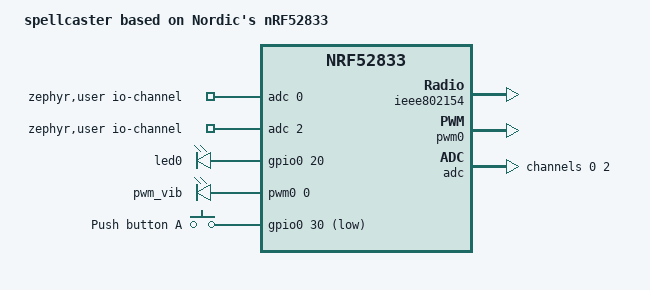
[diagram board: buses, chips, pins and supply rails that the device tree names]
/dts-v1/;
#include <nordic/nrf52833_qiaa.dtsi>
#include "spellcaster_nrf52833-pinctrl.dtsi"

/ {
	model = "spellcaster based on Nordic's nRF52833";
	compatible = "rbaron,spellcaster_nrf52833";

	chosen {
		zephyr,sram = &sram0;
		zephyr,flash = &flash0;
		zephyr,code-partition = &slot0_partition;
		zephyr,ieee802154 = &ieee802154;
	};

	zephyr,user {
		io-channels = <&adc 0>, <&adc 2>;
	};

	leds {
		compatible = "gpio-leds";
		led0: led_0 {
			// P0.20.
			gpios = <&gpio0 20 GPIO_ACTIVE_HIGH>;
		};
	};

	pwms {
		compatible = "pwm-leds";
		pwm_vib: pwm_vib {
			pwms = <&pwm0 0 PWM_MSEC(20) PWM_POLARITY_NORMAL>;
		};
	};

	buttons {
		compatible = "gpio-keys";
		button_a: button_a {
			// P0.30.
			gpios = <&gpio0 30 (GPIO_PULL_UP | GPIO_ACTIVE_LOW)>;
			label = "Push button A";
		};
	};
};

&gpiote {
	status = "okay";
};

&gpio0 {
	status = "okay";
	// For low-power EDGE interrupts.
	// See github.com/zephyrproject-rtos/zephyr/issues/28499.
	sense-edge-mask = <0xffffffff>;
};

&gpio1 {
	status = "okay";
};

&ieee802154 {
	status = "okay";
};

&uart0 {
	compatible = "nordic,nrf-uart";
	status = "disabled";
	current-speed = <115200>;
	pinctrl-0 = <&uart0_default>;
	pinctrl-1 = <&uart0_sleep>;
	pinctrl-names = "default", "sleep";
};

&pwm0 {
	status = "okay";
	pinctrl-0 = <&pwm0_default>;
	pinctrl-1 = <&pwm0_sleep>;
	pinctrl-names = "default", "sleep";
	// status = "disabled";
};

&adc {
	#address-cells = <1>;
	#size-cells = <0>;
	status = "ok";

	// Soil.
	channel@0 {
		reg = <0>;
		zephyr,gain = "ADC_GAIN_1_6";
		zephyr,reference = "ADC_REF_VDD_1_4";
		zephyr,acquisition-time = <ADC_ACQ_TIME_DEFAULT>;
		// P0.03.
		zephyr,input-positive = <NRF_SAADC_AIN1>;
		zephyr,resolution = <10>;

	};

	// Battery.
	channel@2 {
		reg = <2>;
		zephyr,gain = "ADC_GAIN_1_6";
		zephyr,reference = "ADC_REF_INTERNAL";
		zephyr,acquisition-time = <ADC_ACQ_TIME_DEFAULT>;
		zephyr,input-positive = <NRF_SAADC_VDD>;
		zephyr,resolution = <10>;
	};
};

/*
 * For more information, see:
 * http: //docs.zephyrproject.org/latest/guides/dts/index.html#flash-partitions
 */
/* Default
&flash0 {
	partitions {
		compatible = "fixed-partitions";
		#address-cells = <1>;
		#size-cells = <1>;

		boot_partition: partition@0 {
			label = "mcuboot";
			reg = <0x000000000 0xC000>;
		};
		slot0_partition: partition@c000 {
			label = "image-0";
			reg = <0x0000C000 0x32000>;
		};
		slot1_partition: partition@3e000 {
			label = "image-1";
			reg = <0x0003E000 0x32000>;
		};
		scratch_partition: partition@70000 {
			label = "image-scratch";
			reg = <0x00070000 0xA000>;
		};
		storage_partition: partition@7a000 {
			label = "storage";
			// 24k bytes only?
			reg = <0x0007A000 0x00006000>;
		};
	};
};
 */

&flash0 {
	/*
	 * For more information, see:
	 * http: //docs.zephyrproject.org/latest/guides/dts/index.html#flash-partitions
	 */
	partitions {
		compatible = "fixed-partitions";
		#address-cells = <1>;
		#size-cells = <1>;

		boot_partition: partition@0 {
			label = "mcuboot";
			reg = <0x000000000 0xC000>;
		};
		slot0_partition: partition@c000 {
			label = "image-0";
			reg = <0x0000C000 0x32000>;
		};
		// We don't need no stinkin' slot 1.
		// slot1_partition: partition@3e000 {
			//   label = "image-1";
			//   reg = <0x0003E000 0x32000>;
		// };
		// scratch_partition: partition@70000 {
			//   label = "image-scratch";
			//   reg = <0x00070000 0xA000>;
		// };
		storage_partition: partition@3e000 {
			label = "storage";
			reg = <0x0003E000 0x42000>;
		};
	};
};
